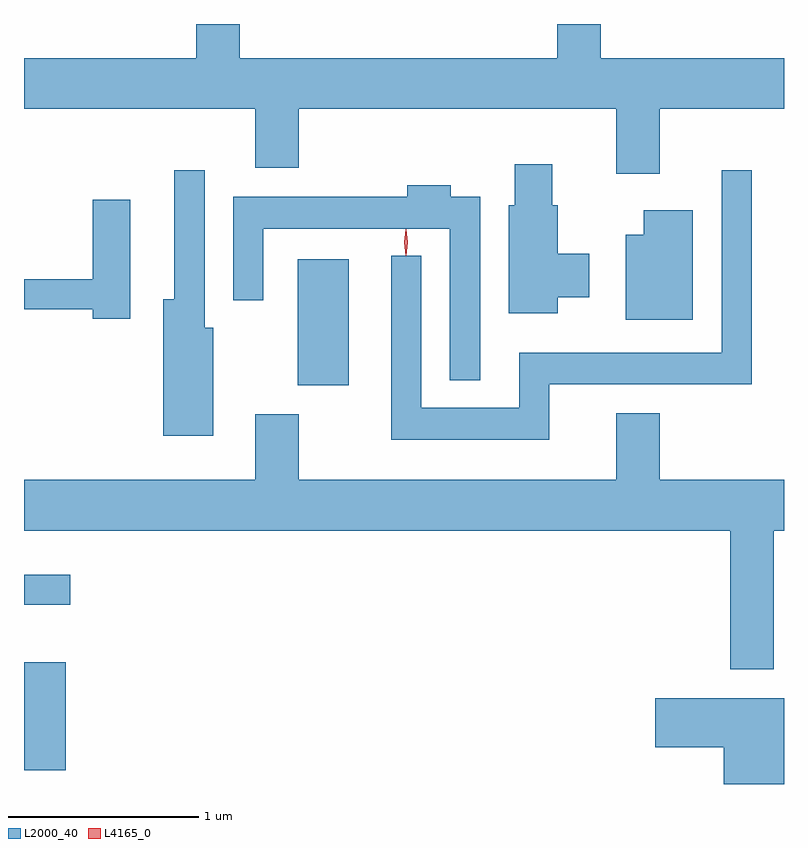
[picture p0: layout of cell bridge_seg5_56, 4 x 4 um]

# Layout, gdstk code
import gdstk
lib = gdstk.Library(unit=1e-6, precision=1e-09)
def R(c, l, rs):  # rectangles x0, y0, x1, y1
    for r in rs: c.add(gdstk.rectangle(r[:2], r[2:], *l))
def P(c, l, *ps):  # polygons
    for p in ps: c.add(gdstk.Polygon(p, *l))
L2000_40 = (2000, 40)
L4165_0 = (4165, 0)

bridge_seg5_56 = lib.new_cell('bridge_seg5_56')
R(bridge_seg5_56, L2000_40, [(1278.684,1468.856,1278.904,1469.424), (1278.684,1469.726,1278.928,1469.884), (1280.126,1470.881,1280.394,1471.544)])
P(bridge_seg5_56, L2000_40, [(1282.029,1472.336),(1282.684,1472.336),(1282.684,1472.604),(1281.719,1472.604),(1281.719,1472.783),(1281.491,1472.783),(1281.491,1472.604),(1279.819,1472.604),(1279.819,1472.783),(1279.591,1472.783),(1279.591,1472.604),(1278.684,1472.604),(1278.684,1472.336),(1279.901,1472.336),(1279.901,1472.026),(1280.129,1472.026),(1280.129,1472.336),(1281.801,1472.336),(1281.801,1471.996),(1282.029,1471.996)],
  [(1281.494,1471.346),(1281.659,1471.346),(1281.659,1471.574),(1281.494,1471.574),(1281.494,1471.829),(1281.464,1471.829),(1281.464,1472.044),(1281.266,1472.044),(1281.266,1471.829),(1281.236,1471.829),(1281.236,1471.261),(1281.494,1471.261)],
  [(1281.449,1470.886),(1282.514,1470.886),(1282.514,1472.013),(1282.356,1472.013),(1282.356,1471.054),(1281.291,1471.054),(1281.291,1470.764),(1280.774,1470.764),(1280.774,1471.563),(1280.616,1471.563),(1280.616,1470.596),(1281.449,1470.596)],
  [(1279.679,1471.184),(1279.634,1471.184),(1279.634,1472.013),(1279.476,1472.013),(1279.476,1471.334),(1279.416,1471.334),(1279.416,1470.616),(1279.679,1470.616)],
  [(1281.084,1471.874),(1280.929,1471.874),(1280.929,1471.934),(1280.701,1471.934),(1280.701,1471.874),(1279.786,1471.874),(1279.786,1471.328),(1279.944,1471.328),(1279.944,1471.706),(1280.926,1471.706),(1280.926,1470.908),(1281.084,1470.908)],
  [(1279.244,1471.859),(1279.046,1471.859),(1279.046,1471.439),(1278.684,1471.439),(1278.684,1471.281),(1279.046,1471.281),(1279.046,1471.231),(1279.244,1471.231)],
  [(1282.204,1471.804),(1281.946,1471.804),(1281.946,1471.674),(1281.851,1471.674),(1281.851,1471.226),(1282.204,1471.226)],
  [(1282.629,1470.116),(1282.684,1470.116),(1282.684,1470.384),(1282.029,1470.384),(1282.029,1470.734),(1281.801,1470.734),(1281.801,1470.384),(1280.129,1470.384),(1280.129,1470.729),(1279.901,1470.729),(1279.901,1470.384),(1278.684,1470.384),(1278.684,1470.116),(1282.401,1470.116),(1282.401,1469.386),(1282.629,1469.386)],
  [(1282.684,1469.234),(1282.006,1469.234),(1282.006,1468.976),(1282.366,1468.976),(1282.366,1468.783),(1282.684,1468.783)])
P(bridge_seg5_56, L4165_0, [(1280.695,1471.567),(1280.694,1471.568),(1280.685,1471.634),(1280.694,1471.7),(1280.695,1471.701),(1280.695,1471.7),(1280.705,1471.634),(1280.695,1471.568)],
  [(1280.694,1471.564),(1280.694,1471.564),(1280.684,1471.634),(1280.694,1471.702),(1280.694,1471.703),(1280.695,1471.702),(1280.704,1471.634),(1280.695,1471.564)])

lib.write_gds('bridge_seg5_56.gds')
